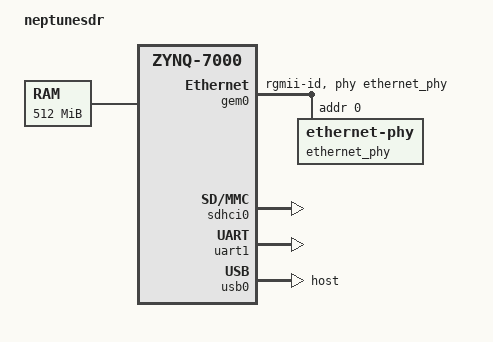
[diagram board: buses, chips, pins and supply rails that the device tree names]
/dts-v1/;
#include "zynq-7000.dtsi"

/ {
	model = "neptunesdr";

	memory {
		device_type = "memory";
		reg = <0x0 0x20000000>;
	};

	chosen {
		bootargs = "earlyprintk";
		linux,stdout-path = &uart1;
		stdout-path = &uart1;
	};
};

&gem0 {
	status = "okay";
	phy-mode = "rgmii-id";
	phy-handle = <&ethernet_phy>;

	ethernet_phy: ethernet-phy@0 {
		reg = <0>;
	};
};

&sdhci0 {
	status = "okay";
};

&uart1 {
	status = "okay";
};

&usb0 {
	status = "okay";
	dr_mode = "host";
};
